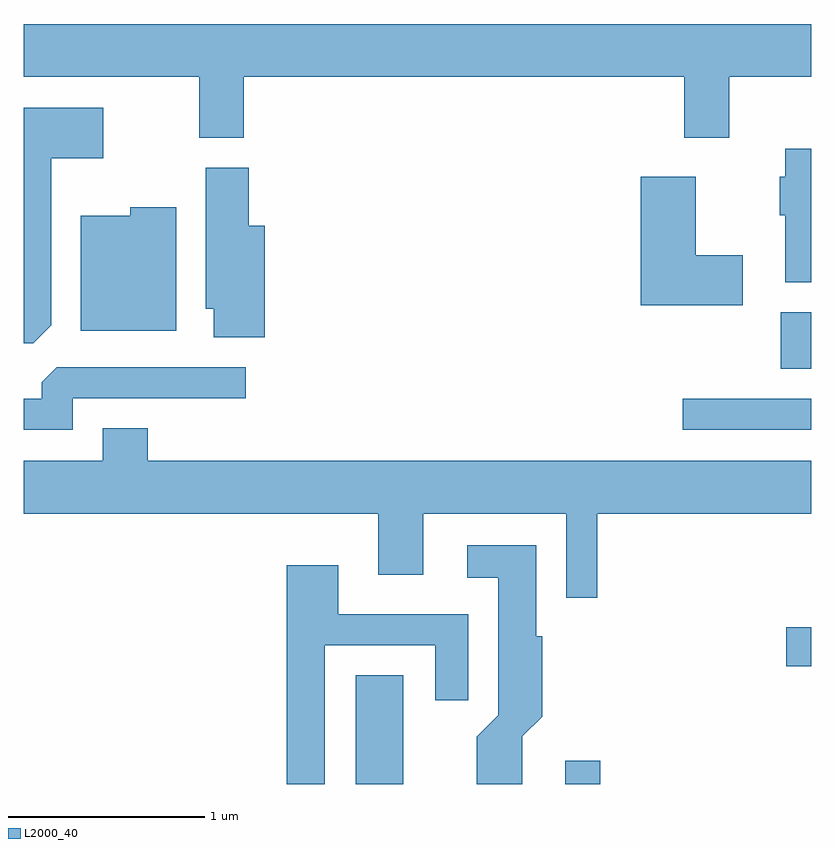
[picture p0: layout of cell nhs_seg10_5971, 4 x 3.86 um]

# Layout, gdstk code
import gdstk
lib = gdstk.Library(unit=1e-6, precision=1e-09)
def R(c, l, rs):  # rectangles x0, y0, x1, y1
    for r in rs: c.add(gdstk.rectangle(r[:2], r[2:], *l))
def P(c, l, *ps):  # polygons
    for p in ps: c.add(gdstk.Polygon(p, *l))
L2000_40 = (2000, 40)

nhs_seg10_5971 = lib.new_cell('nhs_seg10_5971')
R(nhs_seg10_5971, L2000_40, [(363.296,2132.522,363.539,2133.074), (364.361,2132.522,364.539,2132.639), (365.486,2133.121,365.611,2133.319), (364.958,2134.321,365.611,2134.479), (365.456,2134.631,365.611,2134.919)])
P(nhs_seg10_5971, L2000_40, [(362.729,2136.116),(364.966,2136.116),(364.966,2135.806),(365.194,2135.806),(365.194,2136.116),(365.611,2136.116),(365.611,2136.384),(361.611,2136.384),(361.611,2136.116),(362.501,2136.116),(362.501,2135.806),(362.729,2135.806)],
  [(361.749,2134.852),(361.749,2135.701),(362.014,2135.701),(362.014,2135.959),(361.611,2135.959),(361.611,2134.761),(361.659,2134.761)],
  [(365.611,2135.749),(365.481,2135.749),(365.481,2135.609),(365.451,2135.609),(365.451,2135.411),(365.481,2135.411),(365.481,2135.071),(365.611,2135.071)],
  [(362.834,2135.359),(362.754,2135.359),(362.754,2135.654),(362.536,2135.654),(362.536,2134.936),(362.576,2134.936),(362.576,2134.791),(362.834,2134.791)],
  [(365.264,2135.209),(365.024,2135.209),(365.024,2135.609),(364.746,2135.609),(364.746,2134.956),(365.264,2134.956)],
  [(362.384,2135.454),(362.151,2135.454),(362.151,2135.409),(361.901,2135.409),(361.901,2134.826),(362.384,2134.826)],
  [(361.859,2134.481),(362.738,2134.481),(362.738,2134.639),(361.777,2134.639),(361.701,2134.564),(361.701,2134.479),(361.611,2134.479),(361.611,2134.321),(361.859,2134.321)],
  [(364.524,2133.896),(365.611,2133.896),(365.611,2134.164),(362.239,2134.164),(362.239,2134.329),(362.011,2134.329),(362.011,2134.164),(361.611,2134.164),(361.611,2133.896),(363.411,2133.896),(363.411,2133.586),(363.639,2133.586),(363.639,2133.896),(364.366,2133.896),(364.366,2133.468),(364.524,2133.468)],
  [(364.144,2132.764),(364.244,2132.864),(364.244,2133.274),(364.214,2133.274),(364.214,2133.734),(363.863,2133.734),(363.863,2133.571),(364.021,2133.571),(364.021,2132.872),(363.911,2132.762),(363.911,2132.522),(364.144,2132.522)],
  [(363.139,2133.226),(363.701,2133.226),(363.701,2132.948),(363.869,2132.948),(363.869,2133.384),(363.209,2133.384),(363.209,2133.634),(362.946,2133.634),(362.946,2132.522),(363.139,2132.522)])

lib.write_gds('nhs_seg10_5971.gds')
